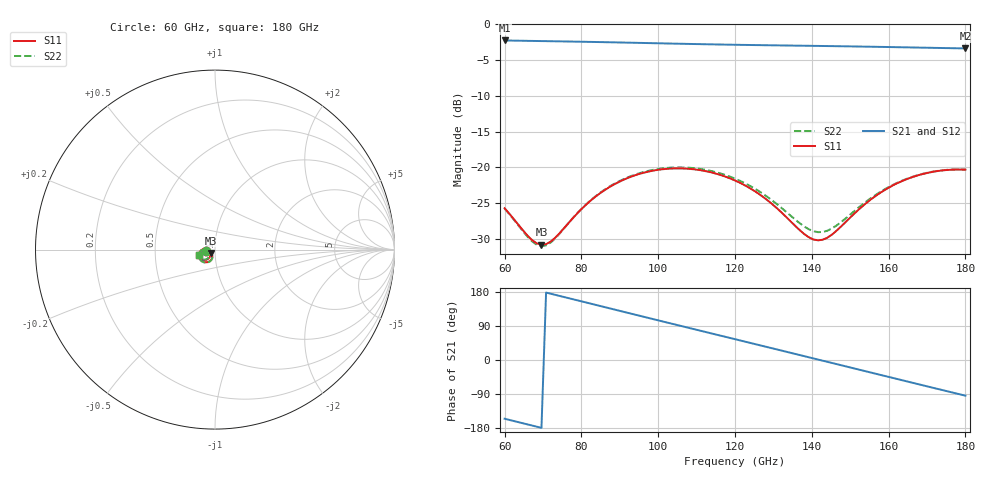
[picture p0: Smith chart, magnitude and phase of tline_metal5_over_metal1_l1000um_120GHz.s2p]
#  GHZ S DB R 50
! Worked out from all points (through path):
!   101 points, 60 GHz to 180 GHz, reference 50 ohm
!   highest |S21| = -2.29 dB at 60 GHz (marker M1); lowest = -3.4 dB at 180 GHz (marker M2)
!   group delay of S21, straight-line fit = 6.92 ps
!   lowest |S11| = -30.8 dB at 69.6 GHz (marker M3), VSWR 1.06, Z = 47.8 - j1.77 ohm
!   |S11| at or under -10 dB: start of sweep to end of sweep
!   |S22| runs from -31.0 to -20.0 dB; largest |S21 - S12| = 1.3e-13
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60  -25.69 -169.4  -2.29 -155.0  -2.29 -155.0  -25.74 -169.5
66  -29.52 -159.3  -2.35 -170.0  -2.35 -170.0  -29.67 -159.1
69.6  -30.79 -140.2  -2.38 -179.0  -2.38 -179.0  -30.97 -139.2
73.2  -29.78 -120.6  -2.41 171.9  -2.41 171.9  -29.89 -118.9
80.4  -25.60 -109.0  -2.47 153.8  -2.47 153.8  -25.57 -107.4
85.2  -23.47 -112.8  -2.52 141.7  -2.52 141.7  -23.40 -111.3
91.2  -21.66 -121.8  -2.59 126.7  -2.59 126.7  -21.57 -120.3
96  -20.77 -130.5  -2.64 114.6  -2.64 114.6  -20.66 -129.0
100.8  -20.27 -139.7  -2.70 102.6  -2.70 102.6  -20.15 -138.2
105.6  -20.13 -149.1  -2.75 90.7  -2.75 90.7  -19.99 -147.4
110.4  -20.33 -158.3  -2.80 78.7  -2.80 78.7  -20.16 -156.4
120  -21.82 -174.9  -2.89 54.9  -2.89 54.9  -21.55 -172.6
126  -23.61 177.7  -2.94 40.1  -2.94 40.1  -23.22 -179.6
130.8  -25.63 175.5  -2.98 28.1  -2.98 28.1  -25.06 178.4
138  -29.27 -172.2  -3.03 10.2  -3.03 10.2  -28.22 -171.0
140.4  -30.04 -161.6  -3.05 4.3  -3.05 4.3  -28.89 -162.3
144  -29.81 -143.6  -3.07 -4.7  -3.07 -4.7  -28.83 -147.2
150  -26.98 -126.7  -3.12 -19.7  -3.12 -19.7  -26.57 -131.3
156  -24.21 -125.9  -3.17 -34.6  -3.17 -34.6  -24.05 -129.4
160.8  -22.59 -130.3  -3.22 -46.6  -3.22 -46.6  -22.51 -133.2
170.4  -20.73 -144.3  -3.31 -70.4  -3.31 -70.4  -20.70 -146.3
180  -20.31 -160.3  -3.40 -94.2  -3.40 -94.2  -20.29 -161.8
